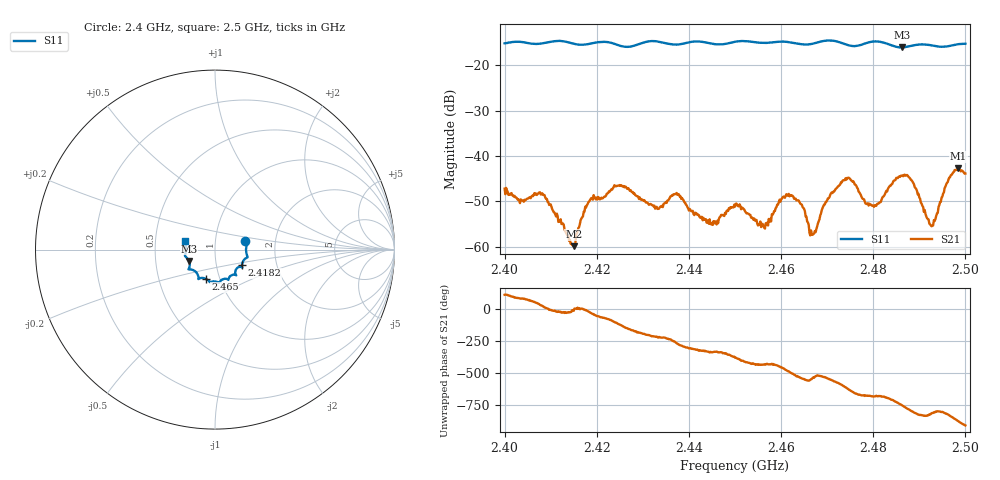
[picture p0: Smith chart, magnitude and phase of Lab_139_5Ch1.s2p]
# Hz S RI R 50
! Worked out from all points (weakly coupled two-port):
!   601 points, 2.4 GHz to 2.5 GHz, reference 50 ohm
!   highest |S21| = -42.70 dB at 2.4985 GHz (marker M1); lowest = -59.9 dB at 2.415 GHz (marker M2)
!   lowest |S11| = -16.0 dB at 2.4862 GHz (marker M3), VSWR 1.38, Z = 37.1 - j4.82 ohm
!   |S11| at or under -10 dB: start of sweep to end of sweep
!   S12 and S22 are empty: the file has one direction only
!   S11 on the Smith chart (normalised r, x): 2.4 GHz: 1.40, +0.13; 2.4182 GHz: 1.33, -0.23; 2.465 GHz: 0.86, -0.29; 2.5 GHz: 0.71, +0.07
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2.4e9  0.1693 0.0465  -0.00155 0.00409  0 0  0 0
2.408167e9  0.1745 -0.0177  0.00354 0.00162  0 0  0 0
2.415e9  0.1655 -0.0527  0.000985 -0.000244  0 0  0 0
2.416667e9  0.1549 -0.0683  0.00205 0.000103  0 0  0 0
2.418167e9  0.1497 -0.0851  0.00293 -0.001  0 0  0 0
2.425e9  0.1342 -0.0966  -0.00253 -0.00407  0 0  0 0
2.433333e9  0.1169 -0.1413  -0.00194 0.00176  0 0  0 0
2.437333e9  0.0869 -0.146  -0.0003 0.00391  0 0  0 0
2.445167e9  0.0605 -0.1624  0.00158 0.000728  0 0  0 0
2.45e9  0.0253 -0.1807  0.00264 -0.000868  0 0  0 0
2.456167e9  -0.00249 -0.1772  0.000533 -0.0016  0 0  0 0
2.461167e9  -0.0305 -0.1797  -0.00172 -0.00339  0 0  0 0
2.465e9  -0.0526 -0.1622  -0.00261 0.000191  0 0  0 0
2.466667e9  -0.0712 -0.1577  -0.00136 0.000108  0 0  0 0
2.473833e9  -0.0947 -0.1439  -0.00224 0.00494  0 0  0 0
2.480167e9  -0.1473 -0.1104  0.0021 0.00179  0 0  0 0
2.483333e9  -0.142 -0.096  0.00403 0.00198  0 0  0 0
2.486167e9  -0.1447 -0.0634  0.00543 -0.00272  0 0  0 0
2.488333e9  -0.1589 -0.0443  0.00151 -0.00518  0 0  0 0
2.492667e9  -0.1649 -0.0223  1.56e-05 -0.00168  0 0  0 0
2.4985e9  -0.1674 0.0392  -0.0065 -0.00338  0 0  0 0
2.5e9  -0.1669 0.0472  -0.0064 0.000577  0 0  0 0
